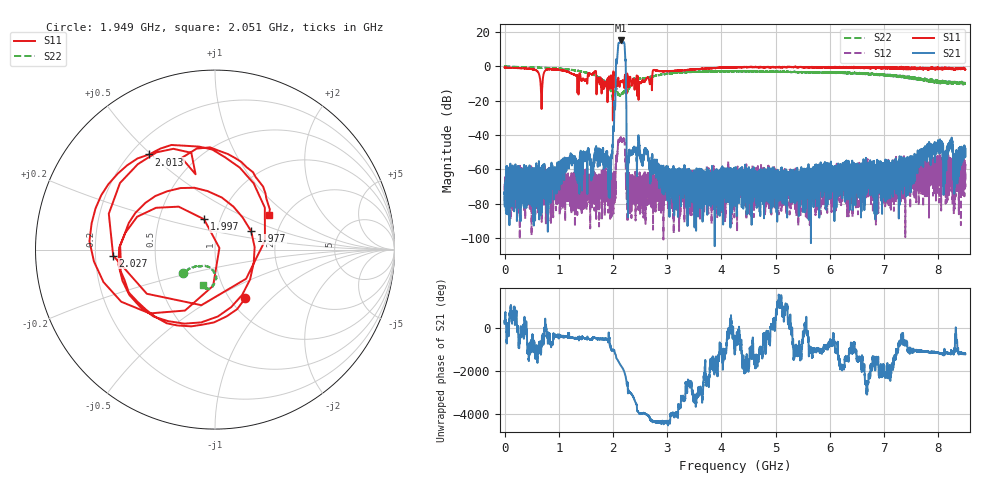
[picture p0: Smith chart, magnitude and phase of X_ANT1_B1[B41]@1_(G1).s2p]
#  HZ  S  RI  R  50.00
! Rohde & Schwarz Vector Network Analyzer
! Rohde-Schwarz,ZNBT8-20Port,1318700624101681,3.50
! Created: UTC 7/15/2025, 2:09:40 PM
! freq[Hz]  re:S1010  im:S1010  re:S0610  im:S0610  re:S1006  im:S1006  re:S66  im:S66
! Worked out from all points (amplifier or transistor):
!   8500 points, 1 MHz to 8.5 GHz, reference 50 ohm
!   highest |S21| = 14.9 dB at 2.144 GHz (marker M1)
!   |S21| within 3 dB of that: 2.095 GHz to 2.215 GHz (119.8 MHz wide, 5.56 % of centre)
!   unconditionally stable (mu >= 1): start of sweep to end of sweep
!   at 1.417 GHz: K = 331249.39, MAG = -55.1 dB, |S12| = -64.9 dB
!   at 4.251 GHz: K = 283112.26, MAG = -59.5 dB, |S12| = -66.9 dB
!   at 8.5 GHz: K = 34960.57, MAG = -43.3 dB, |S12| = -58.5 dB
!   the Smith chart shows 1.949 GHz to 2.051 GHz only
!   S11 on the Smith chart (normalised r, x): 1.949 GHz: 1.17, -0.71; 1.977 GHz: 1.46, +0.32; 1.997 GHz: 0.84, +0.29; 2.013 GHz: 0.27, +0.49; 2.027 GHz: 0.28, -0.03; 2.051 GHz: 1.66, +0.73
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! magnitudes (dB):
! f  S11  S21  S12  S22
! 1 MHz  -0.9  -73.6  -68.7  -0.2
! 1.418 GHz  -8.5  -60.1  -71.3  -3.1
! 1.949 GHz  -9.9  -54.5  -61.5  -13.2
! 1.977 GHz  -12.9  -53.5  -66.1  -16.7
! 1.997 GHz  -14.9  -44.8  -66.7  -19.4
! 2.013 GHz  -3.8  -37.0  -74.1  -17.9
! 2.027 GHz  -4.9  -20.4  -79.5  -14.9
! 2.051 GHz  -8.9  -6.7  -59.6  -13.6
! 2.093 GHz  -7.2  11.1  -46.9  -16.5
! 2.144 GHz  -9.0  14.9  -42.2  -16.1
! 2.205 GHz  -12.3  13.6  -42.4  -14.7
! 2.292 GHz  -11.0  -49.7  -71.6  -13.4
! 2.453 GHz  -6.6  -52.3  -76.5  -7.1
! 2.834 GHz  -2.8  -61.3  -78.4  -5.2
! 4.251 GHz  -0.7  -70.8  -66.9  -3.2
! 5.667 GHz  -0.4  -66.8  -71.5  -3.6
! 7.084 GHz  -0.9  -63.1  -80.8  -5.4
! 8.007 GHz  -1.5  -45.6  -56.0  -9.6
! 8.127 GHz  -1.2  -59.5  -65.4  -8.9
! 8.228 GHz  -1.5  -45.6  -59.0  -9.5
! 8.32 GHz  -1.5  -58.9  -55.4  -9.7
! 8.5 GHz  -1.9  -48.3  -58.5  -9.9
